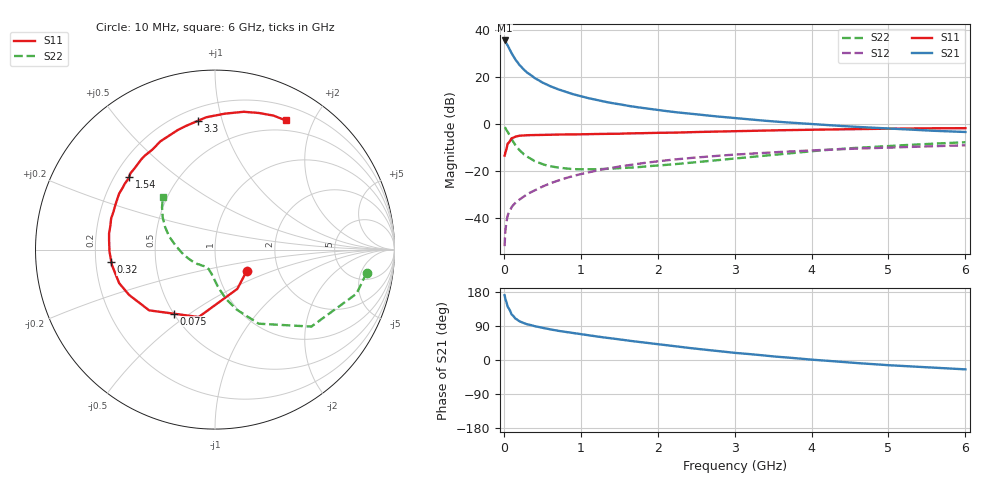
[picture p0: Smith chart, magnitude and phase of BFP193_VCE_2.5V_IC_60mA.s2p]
! Infineon Technologies  Discrete & RF Semiconductors
! BFP193
! VCE = 2.5 V,  IC =  60 mA
! Common Emitter S-Parameters:  Jan 2016
# GHz  S  MA  R  50
!  f  S11  S21  S12  S22
! GHz  MAG  ANG  MAG  ANG  MAG  ANG  MAG  ANG
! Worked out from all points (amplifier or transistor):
!   210 points, 10 MHz to 6 GHz, reference 50 ohm
!   highest |S21| = 35.7 dB at 10 MHz (marker M1)
!   |S21| within 3 dB of that: start of sweep to 63.66 MHz
!   unconditionally stable (mu >= 1): 403.4 MHz to 3.99 GHz
!   at 185 MHz: K = 0.76, MSG = 29.3 dB, |S12| = -32.6 dB
!   at 1.52 GHz: K = 1.09, MAG = 11.4 dB, |S12| = -18.0 dB
!   at 6 GHz: K = 0.96, MSG = 2.8 dB, |S12| = -9.0 dB
!   S11 on the Smith chart (normalised r, x): 10 MHz: 1.38, -0.34; 75 MHz: 0.50, -0.44; 320 MHz: 0.27, -0.06; 1.54 GHz: 0.26, +0.35; 3.3 GHz: 0.28, +0.84; 6 GHz: 0.37, +1.63
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0.01  0.2131 -33.7  60.85 170.9  0.0025 78.3  0.8546 -8.7
0.02  0.2518 -60.4  57.78 161.2  0.0053 78.1  0.826 -17.3
0.05  0.3865 -103.6  47.62 140.6  0.0113 64.7  0.6872 -38.6
0.075  0.4242 -122.7  39.52 132.4  0.0141 60.1  0.5737 -47.2
0.1  0.4992 -137.3  32.63 120.4  0.017 57.0  0.479 -59.5
0.15  0.5412 -152.2  23.78 109.3  0.021 55.9  0.3549 -70.2
0.2  0.5657 -160.7  18.57 102.5  0.0244 58.1  0.2829 -77.2
0.26  0.5744 -168.3  14.56 97.3  0.0286 59.7  0.2277 -82.9
0.3  0.5812 -171.7  12.67 94.4  0.0318 62.2  0.2042 -85.9
0.32  0.5818 -173.2  12.05 93.6  0.0332 62.6  0.1957 -86.9
0.4  0.5881 -179.1  9.638 89.3  0.0387 64.0  0.1627 -92.1
0.5  0.592 175.6  7.732 84.9  0.0464 65.5  0.1398 -97.1
0.6  0.5969 171.3  6.478 80.9  0.0543 65.9  0.1271 -101.4
0.8  0.604 163.3  4.884 74.1  0.0702 65.2  0.1139 -108.6
1.02  0.6087 155.6  3.854 67.6  0.0876 64.0  0.1088 -115.4
1.54  0.6277 139.6  2.588 53.4  0.1276 58.7  0.1161 -130.8
2.02  0.6534 126.6  1.982 41.4  0.1624 52.4  0.1317 -145.4
3.1  0.7118 101.5  1.299 17.3  0.2291 38.0  0.1915 -177.0
3.3  0.7236 97.6  1.218 13.6  0.2398 35.5  0.2059 178.1
4.1  0.7635 84.2  0.979 -0.5  0.2798 25.7  0.2733 162.1
5.1  0.8019 71.0  0.79 -14.8  0.3203 14.4  0.3493 146.8
6  0.8206 61.3  0.68 -24.7  0.354 4.6  0.4111 135.0
